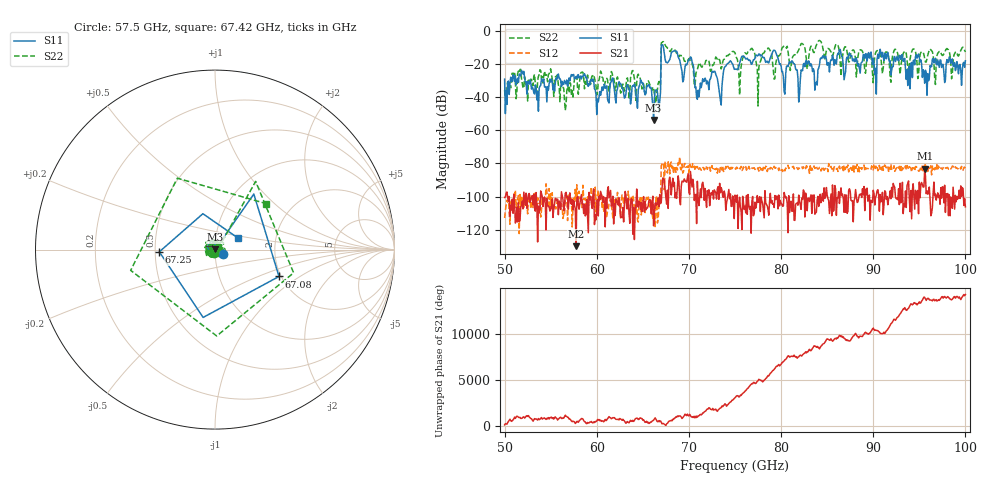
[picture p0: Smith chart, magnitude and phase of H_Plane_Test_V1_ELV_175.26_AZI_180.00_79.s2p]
! 11/27/2026 8:55:01 AM
! C:\ANRITSUVNA\TEMP\TEMP.S2P
! CHANNEL.1
! TR.MEASUREMENT
! RAW.DATA
# HZ S RI R 50.0
! FREQ.HZ  S11RE  S11IM  S21RE  S21IM  S12RE  S12IM  S22RE  S22IM
!; PortSelection: Port_12
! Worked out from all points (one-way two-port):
!   601 points, 50 GHz to 100 GHz, reference 50 ohm
!   highest |S21| = -83.22 dB at 95.58 GHz (marker M1); lowest = -130.0 dB at 57.75 GHz (marker M2)
!   lowest |S11| = -53.8 dB at 66.17 GHz (marker M3), VSWR 1.00, Z = 50.1 + j0.152 ohm
!   |S11| at or under -10 dB: start of sweep to 67 GHz; 67.24 GHz to end of sweep
!   |S22| runs from -48.0 to -5.6 dB; largest |S21 - S12| = 0.00015
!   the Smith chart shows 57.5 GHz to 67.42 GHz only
!   S11 on the Smith chart (normalised r, x): 57.5 GHz: 1.09, -0.05; 67.08 GHz: 1.95, -0.69; 67.25 GHz: 0.53, -0.01; 67.42 GHz: 1.29, +0.17
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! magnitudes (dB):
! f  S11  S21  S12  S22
! 50 GHz  -29.0  -100.5  -112.9  -35.7
! 51.67 GHz  -26.2  -114.7  -98.7  -23.2
! 53.42 GHz  -34.7  -97.6  -100.3  -35.2
! 57.5 GHz  -26.1  -102.4  -101.0  -34.5
! 57.75 GHz  -27.4  -130.0  -102.8  -29.5
! 58.42 GHz  -27.2  -104.3  -106.7  -24.7
! 60.17 GHz  -42.7  -111.8  -96.2  -30.3
! 66.17 GHz  -53.8  -117.7  -104.9  -34.0
! 66.67 GHz  -41.8  -100.9  -113.5  -31.6
! 67.08 GHz  -8.3  -94.9  -80.3  -6.8
! 67.25 GHz  -10.2  -89.0  -80.3  -6.3
! 67.42 GHz  -16.8  -96.0  -78.6  -8.4
! 70.25 GHz  -16.0  -89.4  -82.0  -18.7
! 70.92 GHz  -41.2  -90.8  -81.9  -23.1
! 75 GHz  -23.1  -99.1  -83.0  -13.0
! 79.25 GHz  -11.4  -106.6  -81.7  -29.0
! 80.25 GHz  -27.9  -105.6  -83.2  -9.3
! 83.42 GHz  -24.4  -99.2  -83.9  -10.9
! 91.67 GHz  -16.6  -101.4  -84.7  -15.3
! 94.83 GHz  -15.0  -96.3  -83.3  -28.7
! 95.58 GHz  -31.4  -83.2  -80.9  -16.5
! 100 GHz  -17.9  -106.2  -82.8  -12.6
